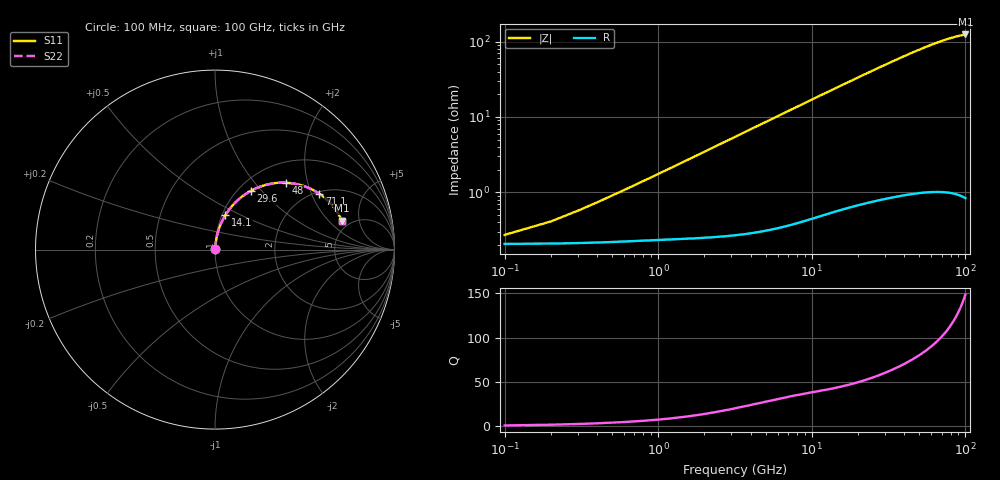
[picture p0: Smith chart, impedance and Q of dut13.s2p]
! Touchstone file exported from HFSS 2026.1.0
!  File:  C:/ffzhzh/LocalFiles/Ansys_Project_Files/temp_train_RDL_13_1783497680_55944.aedt
!  Generated:  04:02:28 PM Jul  8, 2026
!  Design:  RDL
!  Project:  temp_train_RDL_13_1783497680_55944
! Variables:
!  h_bsmrdl = 2um
!  h_ox = 20um
!  h_rdl = 5um
!  h_sub = 80um
!  h_tmrdl = 3.27um
!  h_tsv = 80um
!  h_via = 3um
!  l_bsmrdl = 300um
!  l_sub = 611.63um
!  l_tmrdl = 211.63um
!  m_sub = 200um
!  pitch = 55.16um
!  r_tsv = 6um
!  s_tmrdl = 10um
!  w_bsmrdl = 18um
!  w_sub = 500um
!  w_tmrdl = 12.01um
!  x_tsv_center1 = 217.635um
!  x_tsv_center2 = 535.635um
!  x_tsv_center3 = 759.275um
!  x_tsv_center4 = 1077.275um
!  x_tsv_center5 = 1300.915um
!  x_tsv_center6 = 1618.915um
# GHz S MA R 50.000000
! Terminal data exported
! Port[1] = TM_RDL1_1_T1
! Port[2] = TM_RDL1_1_T2
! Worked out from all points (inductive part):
!   1000 points, 100 MHz to 100 GHz, reference 50 ohm
!   read as one part in series: L = 276 pH near 600 MHz
!   highest Q = 149 at 100 GHz (marker M1), where L = 198 pH
!   S11 on the Smith chart (normalised r, x): 100 MHz: 1.00, +0.00; 14.1 GHz: 1.04, +0.42; 29.6 GHz: 1.14, +0.88; 48 GHz: 1.39, +1.47; 71.1 GHz: 2.07, +2.28; 100 GHz: 4.24, +2.87
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0.1  0.002568 36.7  0.9979 -0.1  0.9979 -0.1  0.002568 36.7
! Gamma 0 0 0 0
! Port Impedance 50 0 50 0
0.4  0.006466 70.2  0.9978 -0.5  0.9978 -0.5  0.006466 70.2
0.8  0.01227 78.4  0.9977 -0.9  0.9977 -0.9  0.01227 78.4
1  0.0152 80.1  0.9976 -1.1  0.9976 -1.1  0.0152 80.1
1.3  0.0196 81.6  0.9974 -1.5  0.9974 -1.5  0.0196 81.6
1.7  0.02548 82.6  0.9972 -1.9  0.9972 -1.9  0.02548 82.6
2.2  0.03285 83.2  0.997 -2.4  0.997 -2.4  0.03285 83.2
3.5  0.05196 83.1  0.9959 -3.9  0.9959 -3.9  0.05196 83.1
5.3  0.07823 81.8  0.9938 -5.9  0.9938 -5.9  0.07823 81.8
7.6  0.1113 79.7  0.9901 -8.4  0.9901 -8.4  0.1113 79.7
10.5  0.152 76.8  0.9839 -11.5  0.9839 -11.5  0.152 76.8
14.1  0.2007 73.2  0.9743 -15.2  0.9743 -15.2  0.2007 73.2
16.8  0.236 70.6  0.9659 -18.0  0.9659 -18.0  0.236 70.5
22.6  0.3073 65.0  0.9449 -23.8  0.9449 -23.8  0.3073 64.9
29.6  0.3847 58.5  0.9156 -30.4  0.9156 -30.4  0.3847 58.5
33.4  0.4226 55.2  0.8986 -33.8  0.8986 -33.8  0.4226 55.1
48  0.5417 43.5  0.8324 -45.7  0.8324 -45.7  0.5417 43.5
50.1  0.5556 42.0  0.8232 -47.2  0.8232 -47.2  0.5556 41.9
66.7  0.642 30.9  0.7585 -58.4  0.7585 -58.4  0.6421 30.9
71.1  0.6589 28.3  0.7441 -61.1  0.7441 -61.1  0.6589 28.2
83.4  0.6955 21.4  0.7107 -68.1  0.7107 -68.1  0.6955 21.3
100  0.7245 12.8  0.6815 -76.7  0.6815 -76.7  0.7246 12.7
